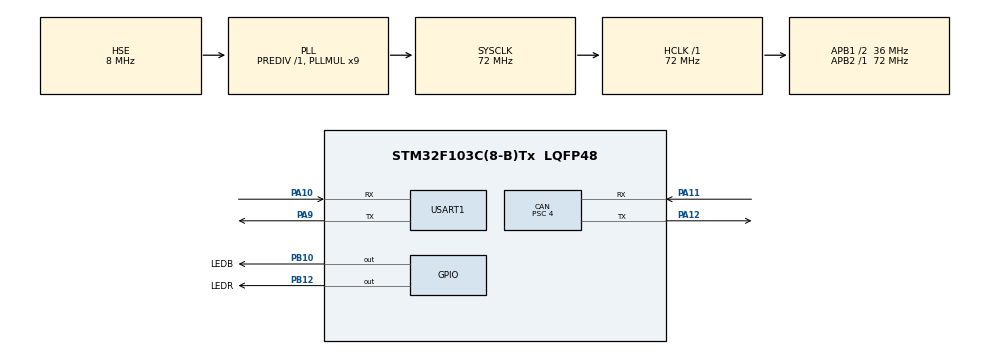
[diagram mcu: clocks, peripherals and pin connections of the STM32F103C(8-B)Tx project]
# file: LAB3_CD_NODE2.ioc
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CAN.BS1=CAN_BS1_13TQ
CAN.BS2=CAN_BS2_4TQ
CAN.CalculateBaudRate=500000
CAN.CalculateTimeBit=2000
CAN.CalculateTimeQuantum=111.11111111111111
CAN.NART=DISABLE
CAN.Prescaler=4
CAN.SJW=CAN_SJW_2TQ
Mcu.Family=STM32F1
Mcu.Name=STM32F103C(8-B)Tx
Mcu.Package=LQFP48
NVIC.PriorityGroup=NVIC_PRIORITYGROUP_4
NVIC.USB_LP_CAN1_RX0_IRQn=true\:0\:0\:false\:false\:true\:true\:true\:true
PA10.Mode=Asynchronous
PA10.Signal=USART1_RX
PA11.Mode=CAN_Activate
PA11.Signal=CAN_RX
PA12.Mode=CAN_Activate
PA12.Signal=CAN_TX
PA9.Mode=Asynchronous
PA9.Signal=USART1_TX
PB10.GPIO_Label=LEDB
PB10.Signal=GPIO_Output
PB12.GPIO_Label=LEDR
PB12.Signal=GPIO_Output
PD0-OSC_IN.Mode=HSE-External-Oscillator
PD0-OSC_IN.Signal=RCC_OSC_IN
PD1-OSC_OUT.Mode=HSE-External-Oscillator
PD1-OSC_OUT.Signal=RCC_OSC_OUT
ProjectManager.HeapSize=0x200
ProjectManager.StackSize=0x400
ProjectManager.TargetToolchain=STM32CubeIDE
RCC.AHBFreq_Value=72000000
RCC.APB1CLKDivider=RCC_HCLK_DIV2
RCC.APB1Freq_Value=36000000
RCC.APB1TimFreq_Value=72000000
RCC.APB2Freq_Value=72000000
RCC.APB2TimFreq_Value=72000000
RCC.HCLKFreq_Value=72000000
RCC.PLLMUL=RCC_PLL_MUL9
RCC.PLLSourceVirtual=RCC_PLLSOURCE_HSE
RCC.SYSCLKFreq_VALUE=72000000
RCC.SYSCLKSource=RCC_SYSCLKSOURCE_PLLCLK
RCC.USBFreq_Value=72000000
USART1.VirtualMode=VM_ASYNC
VP_SYS_VS_ND.Mode=No_Debug
board=custom

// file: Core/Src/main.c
/* USER CODE BEGIN Header */
/**
  ******************************************************************************
  * @file           : main.c
  * @brief          : Main program body
  ******************************************************************************
  * @attention
  *
  * Copyright (c) 2023 STMicroelectronics.
  * All rights reserved.
  *
  * This software is licensed under terms that can be found in the LICENSE file
  * in the root directory of this software component.
  * If no LICENSE file comes with this software, it is provided AS-IS.
  *
  ******************************************************************************
  */
/* USER CODE END Header */
#include "main.h"

/* USER CODE BEGIN PTD */
#define TX_ID 0x0A2
#define RX_ID 0x012
/* USER CODE END PTD */

CAN_HandleTypeDef hcan;

UART_HandleTypeDef huart1;

/* USER CODE BEGIN PV */
uint8_t data[8];

uint8_t calc_SAE_J1850(uint8_t data[],uint8_t crc_len)
{
	uint8_t idx, crc, temp1, temp2, idy;
	idx = 0;
	idy = 0;
	temp1 = 0;
	temp2 = 0;
	for (idx = 0; idx < crc_len;idx++) {
		if (idx == 0)
			temp1 = 0;
		else
			temp1 = data[crc_len - idx];

		crc = (crc ^ temp1);
		for (idy = 8; idy > 0; idy--) {
			temp2 = crc;
			crc <<= 1;
			if (0 != (temp2 & 128))
				crc ^=  0x1D;
		}
	}
	return crc;
}

void CAN_Init() {
	CAN_FilterTypeDef RxFilter = {
			.FilterActivation = CAN_FILTER_ENABLE,
			.FilterBank = 0,
			.FilterFIFOAssignment = CAN_RX_FIFO0,
			.FilterIdHigh = RX_ID << 5,
			.FilterIdLow = 0,
			.FilterMaskIdHigh = 0,
			.FilterMaskIdLow = 0,
			.FilterMode = CAN_FILTERMODE_IDMASK,
			.FilterScale = CAN_FILTERSCALE_16BIT
	};
	HAL_CAN_ConfigFilter(&hcan, &RxFilter);
	HAL_CAN_ActivateNotification(&hcan, CAN_IT_RX_FIFO0_MSG_PENDING);
	HAL_CAN_Start(&hcan);
}

void CAN_Transmit(uint8_t *pData, uint8_t len) {
	CAN_TxHeaderTypeDef TxHeader;
	TxHeader.DLC = len;
	TxHeader.IDE = CAN_ID_STD;
	TxHeader.RTR = CAN_RTR_DATA;
	TxHeader.StdId = TX_ID;
	uint32_t Mailbox;
	HAL_CAN_AddTxMessage(&hcan, &TxHeader, pData, &Mailbox);
}
/* USER CODE END PV */

void SystemClock_Config(void);
static void MX_GPIO_Init(void);
static void MX_CAN_Init(void);
static void MX_USART1_UART_Init(void);

int main(void)
{

  /* MCU Configuration--------------------------------------------------------*/

  /* Reset of all peripherals, Initializes the Flash interface and the Systick. */
  HAL_Init();

  /* Configure the system clock */
  SystemClock_Config();

  /* Initialize all configured peripherals */
  MX_GPIO_Init();
  MX_CAN_Init();
  MX_USART1_UART_Init();
  /* USER CODE BEGIN 2 */
  CAN_Init();
  data[0] = 5; // data byte0
  data[1] = 7; // data byte1
  data[6] = 0; // message counter
  /* USER CODE END 2 */

  /* Infinite loop */
  /* USER CODE BEGIN WHILE */
  while (1)
  {
  	CAN_Transmit(data, 8);
    data[6]++; // update message counter
  	HAL_GPIO_TogglePin(LEDB_GPIO_Port, LEDB_Pin);
	  HAL_Delay(20);
    /* USER CODE END WHILE */

  }
}

void SystemClock_Config(void)
{
  RCC_OscInitTypeDef RCC_OscInitStruct = {0};
  RCC_ClkInitTypeDef RCC_ClkInitStruct = {0};

  /** Initializes the RCC Oscillators according to the specified parameters
  * in the RCC_OscInitTypeDef structure.
  */
  RCC_OscInitStruct.OscillatorType = RCC_OSCILLATORTYPE_HSE;
  RCC_OscInitStruct.HSEState = RCC_HSE_ON;
  RCC_OscInitStruct.HSEPredivValue = RCC_HSE_PREDIV_DIV1;
  RCC_OscInitStruct.HSIState = RCC_HSI_ON;
  RCC_OscInitStruct.PLL.PLLState = RCC_PLL_ON;
  RCC_OscInitStruct.PLL.PLLSource = RCC_PLLSOURCE_HSE;
  RCC_OscInitStruct.PLL.PLLMUL = RCC_PLL_MUL9;
  if (HAL_RCC_OscConfig(&RCC_OscInitStruct) != HAL_OK)
  {
    Error_Handler();
  }

  /** Initializes the CPU, AHB and APB buses clocks
  */
  RCC_ClkInitStruct.ClockType = RCC_CLOCKTYPE_HCLK|RCC_CLOCKTYPE_SYSCLK
                              |RCC_CLOCKTYPE_PCLK1|RCC_CLOCKTYPE_PCLK2;
  RCC_ClkInitStruct.SYSCLKSource = RCC_SYSCLKSOURCE_PLLCLK;
  RCC_ClkInitStruct.AHBCLKDivider = RCC_SYSCLK_DIV1;
  RCC_ClkInitStruct.APB1CLKDivider = RCC_HCLK_DIV2;
  RCC_ClkInitStruct.APB2CLKDivider = RCC_HCLK_DIV1;

  if (HAL_RCC_ClockConfig(&RCC_ClkInitStruct, FLASH_LATENCY_2) != HAL_OK)
  {
    Error_Handler();
  }
}

static void MX_CAN_Init(void)
{

  hcan.Instance = CAN1;
  hcan.Init.Prescaler = 4;
  hcan.Init.Mode = CAN_MODE_NORMAL;
  hcan.Init.SyncJumpWidth = CAN_SJW_2TQ;
  hcan.Init.TimeSeg1 = CAN_BS1_13TQ;
  hcan.Init.TimeSeg2 = CAN_BS2_4TQ;
  hcan.Init.TimeTriggeredMode = DISABLE;
  hcan.Init.AutoBusOff = DISABLE;
  hcan.Init.AutoWakeUp = DISABLE;
  hcan.Init.AutoRetransmission = DISABLE;
  hcan.Init.ReceiveFifoLocked = DISABLE;
  hcan.Init.TransmitFifoPriority = DISABLE;
  if (HAL_CAN_Init(&hcan) != HAL_OK)
  {
    Error_Handler();
  }

}

static void MX_USART1_UART_Init(void)
{

  huart1.Instance = USART1;
  huart1.Init.BaudRate = 115200;
  huart1.Init.WordLength = UART_WORDLENGTH_8B;
  huart1.Init.StopBits = UART_STOPBITS_1;
  huart1.Init.Parity = UART_PARITY_NONE;
  huart1.Init.Mode = UART_MODE_TX_RX;
  huart1.Init.HwFlowCtl = UART_HWCONTROL_NONE;
  huart1.Init.OverSampling = UART_OVERSAMPLING_16;
  if (HAL_UART_Init(&huart1) != HAL_OK)
  {
    Error_Handler();
  }

}

static void MX_GPIO_Init(void)
{
  GPIO_InitTypeDef GPIO_InitStruct = {0};

  /* GPIO Ports Clock Enable */
  __HAL_RCC_GPIOD_CLK_ENABLE();
  __HAL_RCC_GPIOB_CLK_ENABLE();
  __HAL_RCC_GPIOA_CLK_ENABLE();

  /*Configure GPIO pin Output Level */
  HAL_GPIO_WritePin(GPIOB, LEDB_Pin|LEDR_Pin, GPIO_PIN_RESET);

  /*Configure GPIO pins : LEDB_Pin LEDR_Pin */
  GPIO_InitStruct.Pin = LEDB_Pin|LEDR_Pin;
  GPIO_InitStruct.Mode = GPIO_MODE_OUTPUT_PP;
  GPIO_InitStruct.Pull = GPIO_NOPULL;
  GPIO_InitStruct.Speed = GPIO_SPEED_FREQ_LOW;
  HAL_GPIO_Init(GPIOB, &GPIO_InitStruct);

}

/* USER CODE BEGIN 4 */
void HAL_CAN_RxFifo0MsgPendingCallback(CAN_HandleTypeDef *hcan) {
	uint8_t RcvBuf[8];
	CAN_RxHeaderTypeDef RxHeader;
	HAL_CAN_GetRxMessage(hcan, CAN_FILTER_FIFO0, &RxHeader, RcvBuf);
	HAL_GPIO_TogglePin(LEDR_GPIO_Port, LEDR_Pin);
}
/* USER CODE END 4 */

void Error_Handler(void)
{
  __disable_irq();
  while (1)
  {
  }
}
